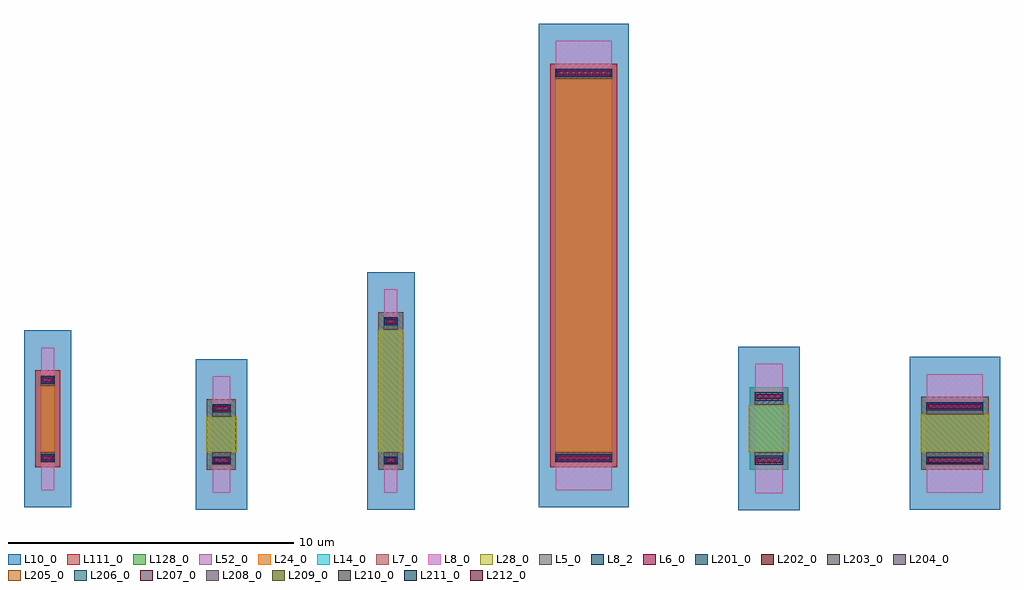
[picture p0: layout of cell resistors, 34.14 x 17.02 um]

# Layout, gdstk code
import gdstk
lib = gdstk.Library(unit=1e-6, precision=1e-09)
def R(c, l, rs):  # rectangles x0, y0, x1, y1
    for r in rs: c.add(gdstk.rectangle(r[:2], r[2:], *l))
def P(c, l, *ps):  # polygons
    for p in ps: c.add(gdstk.Polygon(p, *l))
L5_0 = (5, 0)
L6_0 = (6, 0)
L7_0 = (7, 0)
L8_0 = (8, 0)
L8_2 = (8, 2)
L10_0 = (10, 0)
L14_0 = (14, 0)
L24_0 = (24, 0)
L28_0 = (28, 0)
L52_0 = (52, 0)
L111_0 = (111, 0)
L128_0 = (128, 0)
L201_0 = (201, 0)
L202_0 = (202, 0)
L203_0 = (203, 0)
L204_0 = (204, 0)
L205_0 = (205, 0)
L206_0 = (206, 0)
L207_0 = (207, 0)
L208_0 = (208, 0)
L209_0 = (209, 0)
L210_0 = (210, 0)
L211_0 = (211, 0)
L212_0 = (212, 0)

rsil_cdns_785835985925 = lib.new_cell('rsil_CDNS_785835985925')
R(rsil_cdns_785835985925, L5_0, [(0,-0.35,0.5,0), (0,2.33,0.5,2.68)])
R(rsil_cdns_785835985925, L6_0, [(0.07,-0.28,0.43,-0.12), (0.07,2.45,0.43,2.61)])
R(rsil_cdns_785835985925, L8_0, [(0.02,-0.33,0.48,-0.07), (0.02,2.4,0.48,2.66)])
R(rsil_cdns_785835985925, L8_2, [(0.02,-0.33,0.48,-0.07), (0.02,2.4,0.48,2.66)])
R(rsil_cdns_785835985925, L24_0, [(0,0,0.5,2.33)])
R(rsil_cdns_785835985925, L52_0, [(0,0,0.5,2.33)])
R(rsil_cdns_785835985925, L111_0, [(-0.18,-0.53,0.68,0), (-0.18,0,0.68,2.86), (-0.18,0,0.68,2.33)])
R(rsil_cdns_785835985925, L128_0, [(0,0,0.5,2.33)])
rsil_cdns_785835985925.add(gdstk.Label('rsil r=49.98', (0.25,1.165), layer=63, texttype=0))
rsil_cdns_785835985925.add(gdstk.Label('rsil', (0.25,1.165), layer=52, texttype=0))

rhigh_cdns_785835985924 = lib.new_cell('rhigh_CDNS_785835985924')
R(rhigh_cdns_785835985924, L5_0, [(0,-0.43,0.655,0), (0,1.245,0.655,1.675)])
R(rhigh_cdns_785835985924, L6_0, [(0.07,-0.36,0.585,-0.2), (0.07,1.445,0.585,1.605)])
R(rhigh_cdns_785835985924, L7_0, [(-0.18,-0.61,0.835,0.18), (-0.18,0,0.835,1.245), (-0.18,0,0.835,1.245), (-0.18,1.065,0.835,1.855)])
R(rhigh_cdns_785835985924, L8_0, [(0.02,-0.41,0.635,-0.15), (0.02,1.395,0.635,1.655)])
R(rhigh_cdns_785835985924, L8_2, [(0.02,-0.41,0.635,-0.15), (0.02,1.395,0.635,1.655)])
R(rhigh_cdns_785835985924, L14_0, [(-0.18,-0.61,0.835,0.18), (-0.18,0,0.835,1.245), (-0.18,0,0.835,1.245), (-0.18,1.065,0.835,1.855)])
R(rhigh_cdns_785835985924, L28_0, [(-0.2,0,0.855,1.245)])
R(rhigh_cdns_785835985924, L52_0, [(0,0,0.655,1.245)])
R(rhigh_cdns_785835985924, L111_0, [(-0.18,-0.61,0.835,0.18), (-0.2,0,0.855,1.245), (-0.18,1.065,0.835,1.855)])
R(rhigh_cdns_785835985924, L128_0, [(0,0,0.655,1.245)])
rhigh_cdns_785835985924.add(gdstk.Label('rhigh r=2.997k', (0.328,0.622), layer=63, texttype=0))
rhigh_cdns_785835985924.add(gdstk.Label('rhigh', (0.328,0.622), layer=52, texttype=0))

rhigh_cdns_785835985923 = lib.new_cell('rhigh_CDNS_785835985923')
R(rhigh_cdns_785835985923, L5_0, [(0,-0.43,0.5,0), (0,4.29,0.5,4.72)])
R(rhigh_cdns_785835985923, L6_0, [(0.07,-0.36,0.43,-0.2), (0.07,4.49,0.43,4.65)])
R(rhigh_cdns_785835985923, L7_0, [(-0.18,-0.61,0.68,0.18), (-0.18,0,0.68,4.29), (-0.18,0,0.68,4.29), (-0.18,4.11,0.68,4.9)])
R(rhigh_cdns_785835985923, L8_0, [(0.02,-0.41,0.48,-0.15), (0.02,4.44,0.48,4.7)])
R(rhigh_cdns_785835985923, L8_2, [(0.02,-0.41,0.48,-0.15), (0.02,4.44,0.48,4.7)])
R(rhigh_cdns_785835985923, L14_0, [(-0.18,-0.61,0.68,0.18), (-0.18,0,0.68,4.29), (-0.18,0,0.68,4.29), (-0.18,4.11,0.68,4.9)])
R(rhigh_cdns_785835985923, L28_0, [(-0.2,0,0.7,4.29)])
R(rhigh_cdns_785835985923, L52_0, [(0,0,0.5,4.29)])
R(rhigh_cdns_785835985923, L111_0, [(-0.18,-0.61,0.68,0.18), (-0.2,0,0.7,4.29), (-0.18,4.11,0.68,4.9)])
R(rhigh_cdns_785835985923, L128_0, [(0,0,0.5,4.29)])
rhigh_cdns_785835985923.add(gdstk.Label('rhigh r=13.003k', (0.25,2.145), layer=63, texttype=0))
rhigh_cdns_785835985923.add(gdstk.Label('rhigh', (0.25,2.145), layer=52, texttype=0))

rsil_cdns_786372201261 = lib.new_cell('rsil_CDNS_786372201261')
R(rsil_cdns_786372201261, L5_0, [(0,-0.35,2,0), (0,13.06,2,13.41)])
R(rsil_cdns_786372201261, L6_0, [(0.07,-0.28,1.93,-0.12), (0.07,13.18,1.93,13.34)])
R(rsil_cdns_786372201261, L8_0, [(0.02,-0.33,1.98,-0.07), (0.02,13.13,1.98,13.39)])
R(rsil_cdns_786372201261, L8_2, [(0.02,-0.33,1.98,-0.07), (0.02,13.13,1.98,13.39)])
R(rsil_cdns_786372201261, L24_0, [(0,0,2,13.06)])
R(rsil_cdns_786372201261, L52_0, [(0,0,2,13.06)])
R(rsil_cdns_786372201261, L111_0, [(-0.18,-0.53,2.18,0), (-0.18,0,2.18,13.59), (-0.18,0,2.18,13.06)])
R(rsil_cdns_786372201261, L128_0, [(0,0,2,13.06)])
rsil_cdns_786372201261.add(gdstk.Label('rsil', (1,6.53), layer=52, texttype=0))
rsil_cdns_786372201261.add(gdstk.Label('rsil r=49.983', (1,6.53), layer=63, texttype=0))

rppd_cdns_786372201260 = lib.new_cell('rppd_CDNS_786372201260')
R(rppd_cdns_786372201260, L5_0, [(0,-0.43,1,-0.2), (0,-0.2,1,0), (0,1.665,1,1.865), (0,1.865,1,2.095)])
R(rppd_cdns_786372201260, L6_0, [(0.07,-0.36,0.93,-0.2), (0.07,1.865,0.93,2.025)])
R(rppd_cdns_786372201260, L8_0, [(0.02,-0.43,0.98,-0.13), (0.02,1.795,0.98,2.095)])
R(rppd_cdns_786372201260, L8_2, [(0.02,-0.43,0.98,-0.13), (0.02,1.795,0.98,2.095)])
R(rppd_cdns_786372201260, L14_0, [(-0.18,-0.61,1.18,0), (-0.18,0,1.18,1.665), (-0.18,1.665,1.18,2.275)])
R(rppd_cdns_786372201260, L28_0, [(-0.2,0,1.2,1.665)])
R(rppd_cdns_786372201260, L52_0, [(0,0,1,1.665)])
R(rppd_cdns_786372201260, L111_0, [(-0.18,-0.61,1.18,0), (-0.2,0,1.2,1.665), (-0.18,1.665,1.18,2.275)])
R(rppd_cdns_786372201260, L128_0, [(0,0,1,1.665)])
rppd_cdns_786372201260.add(gdstk.Label('rppd', (0.5,0.833), layer=52, texttype=0))
rppd_cdns_786372201260.add(gdstk.Label('rppd r=500.318', (0.5,0.833), layer=63, texttype=0))

rhigh_cdns_786372201262 = lib.new_cell('rhigh_CDNS_786372201262')
R(rhigh_cdns_786372201262, L5_0, [(0,-0.43,2,0), (0,1.325,2,1.755)])
R(rhigh_cdns_786372201262, L6_0, [(0.07,-0.36,1.93,-0.2), (0.07,1.525,1.93,1.685)])
R(rhigh_cdns_786372201262, L7_0, [(-0.18,-0.61,2.18,0.18), (-0.18,0,2.18,1.325), (-0.18,0,2.18,1.325), (-0.18,1.145,2.18,1.935)])
R(rhigh_cdns_786372201262, L8_0, [(0.02,-0.41,1.98,-0.15), (0.02,1.475,1.98,1.735)])
R(rhigh_cdns_786372201262, L8_2, [(0.02,-0.41,1.98,-0.15), (0.02,1.475,1.98,1.735)])
R(rhigh_cdns_786372201262, L14_0, [(-0.18,-0.61,2.18,0.18), (-0.18,0,2.18,1.325), (-0.18,0,2.18,1.325), (-0.18,1.145,2.18,1.935)])
R(rhigh_cdns_786372201262, L28_0, [(-0.2,0,2.2,1.325)])
R(rhigh_cdns_786372201262, L52_0, [(0,0,2,1.325)])
R(rhigh_cdns_786372201262, L111_0, [(-0.18,-0.61,2.18,0.18), (-0.2,0,2.2,1.325), (-0.18,1.145,2.18,1.935)])
R(rhigh_cdns_786372201262, L128_0, [(0,0,2,1.325)])
rhigh_cdns_786372201262.add(gdstk.Label('rhigh', (1,0.663), layer=52, texttype=0))
rhigh_cdns_786372201262.add(gdstk.Label('rhigh r=999.388', (1,0.663), layer=63, texttype=0))

resistors = lib.new_cell('resistors')
R(resistors, L8_0, [(25,-1.43,25.96,-0.13), (6.02,-1.41,6.635,-0.15), (12.02,-1.41,12.48,-0.15), (31,-1.41,32.96,-0.15), (0.02,-1.33,0.48,-0.07), (18.02,-1.33,19.98,-0.07), (6.02,1.395,6.635,2.655), (31,1.475,32.96,2.735), (25,1.795,25.96,3.095), (0.02,2.4,0.48,3.66), (12.02,4.44,12.48,5.7), (18.02,13.13,19.98,14.39)])
R(resistors, L10_0, [(24.4,-2.03,26.56,3.695), (5.42,-2.01,7.235,3.255), (11.42,-2.01,13.08,6.3), (30.4,-2.01,33.56,3.335), (-0.58,-1.93,1.08,4.26), (17.42,-1.93,20.58,14.99)])
P(resistors, L201_0, [(0.02,3.66),(0.02,3.66),(0.48,3.66),(0.48,3.66)])
P(resistors, L202_0, [(0.02,-1.33),(0.02,-1.33),(0.48,-1.33),(0.48,-1.33)])
P(resistors, L203_0, [(6.02,2.655),(6.02,2.655),(6.635,2.655),(6.635,2.655)])
P(resistors, L204_0, [(6.02,-1.41),(6.02,-1.41),(6.635,-1.41),(6.635,-1.41)])
P(resistors, L205_0, [(12.02,5.7),(12.02,5.7),(12.48,5.7),(12.48,5.7)])
P(resistors, L206_0, [(12.02,-1.41),(12.02,-1.41),(12.48,-1.41),(12.48,-1.41)])
P(resistors, L207_0, [(18.02,14.39),(18.02,14.39),(19.98,14.39),(19.98,14.39)])
P(resistors, L208_0, [(18.02,-1.33),(18.02,-1.33),(19.98,-1.33),(19.98,-1.33)])
P(resistors, L209_0, [(25,3.095),(25,3.095),(25.96,3.095),(25.96,3.095)])
P(resistors, L210_0, [(25,-1.43),(25,-1.43),(25.96,-1.43),(25.96,-1.43)])
P(resistors, L211_0, [(31,2.735),(31,2.735),(32.96,2.735),(32.96,2.735)])
P(resistors, L212_0, [(31,-1.41),(31,-1.41),(32.96,-1.41),(32.96,-1.41)])
resistors.add(gdstk.Reference(rsil_cdns_785835985925, (0,0)))
resistors.add(gdstk.Reference(rhigh_cdns_785835985924, (6,0)))
resistors.add(gdstk.Reference(rhigh_cdns_785835985923, (12,0)))
resistors.add(gdstk.Reference(rsil_cdns_786372201261, (18,0)))
resistors.add(gdstk.Reference(rppd_cdns_786372201260, (24.98,0)))
resistors.add(gdstk.Reference(rhigh_cdns_786372201262, (30.98,0)))

lib.write_gds('resistors.gds')
